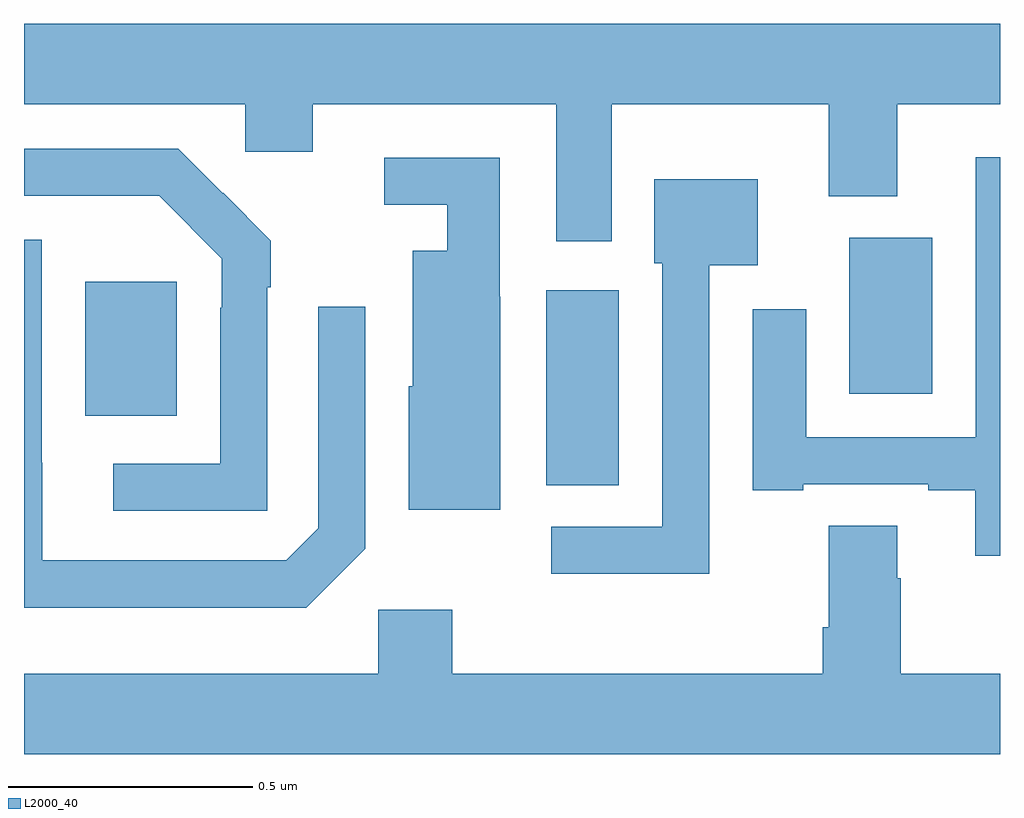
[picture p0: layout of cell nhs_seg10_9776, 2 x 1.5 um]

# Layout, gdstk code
import gdstk
lib = gdstk.Library(unit=1e-6, precision=1e-09)
def R(c, l, rs):  # rectangles x0, y0, x1, y1
    for r in rs: c.add(gdstk.rectangle(r[:2], r[2:], *l))
def P(c, l, *ps):  # polygons
    for p in ps: c.add(gdstk.Polygon(p, *l))
L2000_40 = (2000, 40)

nhs_seg10_9776 = lib.new_cell('nhs_seg10_9776')
R(nhs_seg10_9776, L2000_40, [(235.07,1274.227,235.219,1274.626), (234.125,1274.369,234.313,1274.644), (235.691,1274.414,235.861,1274.734)])
P(nhs_seg10_9776, L2000_40, [(235.204,1275.008),(235.649,1275.008),(235.649,1274.819),(235.789,1274.819),(235.789,1275.008),(236,1275.008),(236,1275.172),(234,1275.172),(234,1275.008),(234.453,1275.008),(234.453,1274.91),(234.592,1274.91),(234.592,1275.008),(235.091,1275.008),(235.091,1274.727),(235.204,1274.727)],
  [(234.498,1274.633),(234.506,1274.633),(234.506,1274.728),(234.408,1274.826),(234.407,1274.825),(234.316,1274.916),(234,1274.916),(234,1274.82),(234.277,1274.82),(234.405,1274.691),(234.405,1274.591),(234.402,1274.591),(234.402,1274.271),(234.183,1274.271),(234.183,1274.175),(234.498,1274.175)],
  [(236,1274.899),(235.95,1274.899),(235.95,1274.325),(235.603,1274.325),(235.603,1274.587),(235.493,1274.587),(235.493,1274.217),(235.597,1274.217),(235.597,1274.229),(235.853,1274.229),(235.853,1274.217),(235.949,1274.217),(235.949,1274.082),(236,1274.082)],
  [(234.976,1274.613),(234.975,1274.613),(234.975,1274.898),(234.738,1274.898),(234.738,1274.802),(234.867,1274.802),(234.867,1274.707),(234.797,1274.707),(234.797,1274.43),(234.788,1274.43),(234.788,1274.177),(234.976,1274.177)],
  [(235.404,1274.678),(235.504,1274.678),(235.504,1274.854),(235.292,1274.854),(235.292,1274.682),(235.308,1274.682),(235.308,1274.142),(235.08,1274.142),(235.08,1274.045),(235.404,1274.045)],
  [(234.699,1274.097),(234.699,1274.593),(234.603,1274.593),(234.603,1274.139),(234.537,1274.073),(234.037,1274.073),(234.037,1274.273),(234.036,1274.273),(234.036,1274.73),(234,1274.73),(234,1273.976),(234.578,1273.976)],
  [(236,1273.84),(235.797,1273.84),(235.797,1274.036),(235.789,1274.036),(235.789,1274.144),(235.649,1274.144),(235.649,1273.936),(235.637,1273.936),(235.637,1273.84),(234.878,1273.84),(234.878,1273.972),(234.726,1273.972),(234.726,1273.84),(234,1273.84),(234,1273.676),(236,1273.676)])

lib.write_gds('nhs_seg10_9776.gds')
